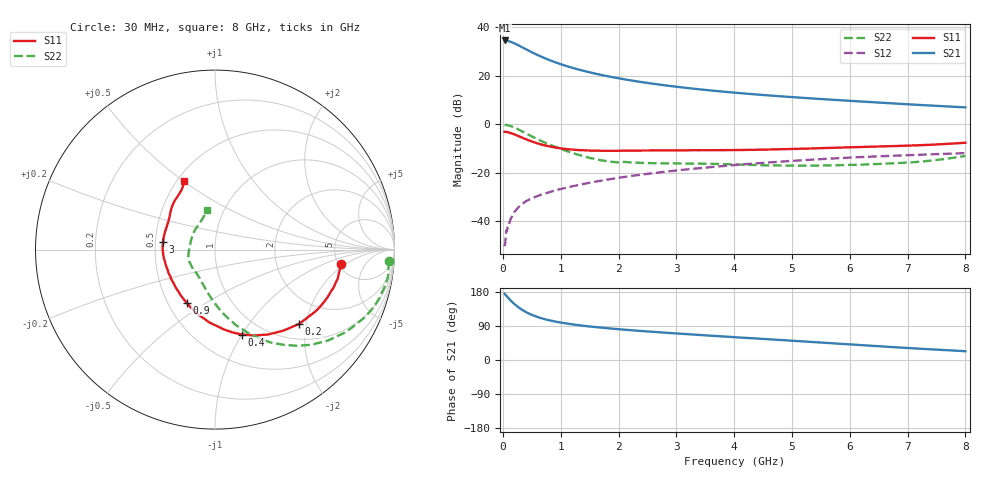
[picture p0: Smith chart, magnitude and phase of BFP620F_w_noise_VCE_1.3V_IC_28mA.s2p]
! Infineon Technologies  Discrete & RF Semiconductors
! BFP620F
! VCE =  1.3 V,  IC =  28 mA
! Common Emitter S-Parameters:  Dec 2014
# GHz  S  MA  R  50
!  f  S11  S21  S12  S22
! GHz  MAG  ANG  MAG  ANG  MAG  ANG  MAG  ANG
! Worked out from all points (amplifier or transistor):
!   95 points, 30 MHz to 8 GHz, reference 50 ohm
!   highest |S21| = 34.6 dB at 30 MHz (marker M1)
!   |S21| within 3 dB of that: start of sweep to 349.3 MHz
!   unconditionally stable (mu >= 1): 2.577 GHz to end of sweep
!   at 300 MHz: K = 0.36, MSG = 32.8 dB, |S12| = -33.4 dB
!   at 3.3 GHz: K = 1.02, MAG = 15.6 dB, |S12| = -18.3 dB
!   at 8 GHz: K = 1.06, MAG = 8.0 dB, |S12| = -11.8 dB
!   lowest NFmin = 1.08 dB at 450 MHz
!   S11 on the Smith chart (normalised r, x): 30 MHz: 5.25, -1.70; 200 MHz: 1.34, -1.82; 400 MHz: 0.80, -1.00; 900 MHz: 0.62, -0.41; 3 GHz: 0.55, +0.05; 8 GHz: 0.54, +0.51
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0.03  0.7066 -6.6  53.98 174.8  0.0031 98.3  0.9697 -3.9
0.07  0.6976 -15.3  53.4 167.8  0.0064 96.6  0.9698 -11.1
0.12  0.6724 -26.2  51.27 159.3  0.01 80.5  0.9397 -19.9
0.15  0.6554 -32.1  49.88 154.8  0.0121 79.1  0.9131 -24.7
0.2  0.6248 -41.6  46.99 147.7  0.0157 72.4  0.8632 -32.1
0.25  0.5895 -50.2  44.05 141.3  0.0185 69.8  0.8098 -38.6
0.3  0.5574 -58.1  41.11 135.7  0.0215 68.5  0.7553 -44.6
0.4  0.4963 -72.4  35.6 126.3  0.0263 64.9  0.6532 -54.3
0.5  0.4465 -83.9  30.89 119.2  0.03 62.8  0.5686 -62.2
0.6  0.4072 -94.3  27.05 113.4  0.0335 62.1  0.4958 -68.7
0.7  0.3771 -103.1  23.94 108.7  0.0369 61.4  0.4375 -74.4
0.9  0.3354 -118.2  19.26 101.6  0.0434 61.7  0.348 -84.0
1.1  0.311 -130.6  16.01 96.3  0.0498 61.4  0.2844 -92.5
1.4  0.2944 -145.6  12.73 90.2  0.0596 61.4  0.2205 -104.7
1.7  0.2869 -157.4  10.52 85.4  0.0694 61.0  0.1825 -117.6
2  0.2869 -166.8  8.969 81.3  0.0795 60.3  0.1654 -129.8
2.7  0.2922 176.9  6.665 73.2  0.1025 57.4  0.1582 -149.0
3  0.2931 171.3  6.007 70.1  0.1126 56.0  0.1577 -154.8
4.1  0.2979 154.4  4.431 59.3  0.1484 49.9  0.1489 -171.4
5.4  0.3225 140.5  3.41 47.0  0.19 41.3  0.1423 162.1
6.7  0.3571 127.4  2.74 34.5  0.2253 31.6  0.1576 133.4
8  0.4206 114.0  2.255 23.1  0.2564 22.2  0.2244 101.5
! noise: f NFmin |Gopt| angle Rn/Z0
0.45  1.08  0.03  -173  0.19
0.9  1.11  0.04  -171  0.15
1.5  1.12  0.08  -149  0.15
1.8  1.14  0.08  -147  0.17
1.9  1.14  0.08  -146  0.15
2.4  1.16  0.09  -146  0.17
3.5  1.23  0.12  -142  0.17
5.5  1.38  0.2  239  0.13
6  1.42  0.2  259  0.15
